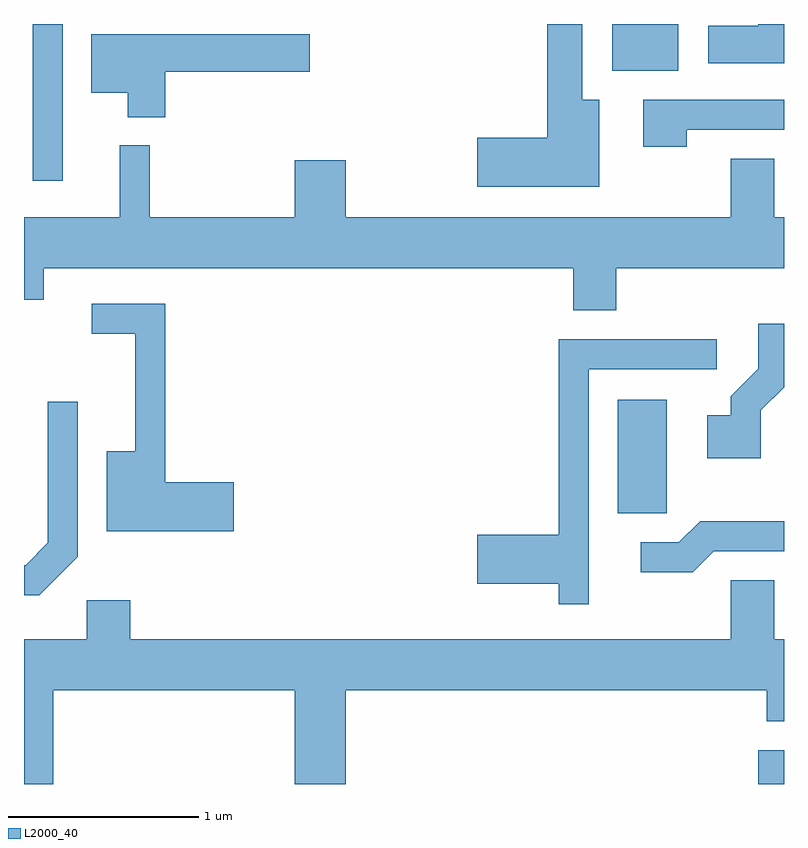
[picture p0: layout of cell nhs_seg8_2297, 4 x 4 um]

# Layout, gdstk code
import gdstk
lib = gdstk.Library(unit=1e-6, precision=1e-09)
def R(c, l, rs):  # rectangles x0, y0, x1, y1
    for r in rs: c.add(gdstk.rectangle(r[:2], r[2:], *l))
def P(c, l, *ps):  # polygons
    for p in ps: c.add(gdstk.Polygon(p, *l))
L2000_40 = (2000, 40)

nhs_seg8_2297 = lib.new_cell('nhs_seg8_2297')
R(nhs_seg8_2297, L2000_40, [(257.476,1860.342,257.611,1860.519), (256.736,1861.766,256.994,1862.364), (253.656,1863.518,253.814,1864.342), (256.706,1864.096,257.054,1864.342)])
P(nhs_seg8_2297, L2000_40, [(257.611,1864.342),(257.476,1864.342),(257.476,1864.334),(257.211,1864.334),(257.211,1864.136),(257.611,1864.136)],
  [(256.639,1863.944),(256.549,1863.944),(256.549,1864.342),(256.366,1864.342),(256.366,1863.744),(255.996,1863.744),(255.996,1863.486),(256.639,1863.486)],
  [(254.354,1864.091),(255.114,1864.091),(255.114,1864.289),(253.966,1864.289),(253.966,1863.981),(254.156,1863.981),(254.156,1863.851),(254.354,1863.851)],
  [(257.099,1863.786),(257.611,1863.786),(257.611,1863.944),(256.871,1863.944),(256.871,1863.696),(257.099,1863.696)],
  [(256.729,1863.056),(257.611,1863.056),(257.611,1863.324),(257.559,1863.324),(257.559,1863.634),(257.331,1863.634),(257.331,1863.324),(255.304,1863.324),(255.304,1863.624),(255.036,1863.624),(255.036,1863.324),(254.274,1863.324),(254.274,1863.703),(254.116,1863.703),(254.116,1863.324),(253.611,1863.324),(253.611,1862.891),(253.714,1862.891),(253.714,1863.056),(256.501,1863.056),(256.501,1862.836),(256.729,1862.836)],
  [(254.714,1861.929),(254.354,1861.929),(254.354,1862.869),(253.968,1862.869),(253.968,1862.711),(254.196,1862.711),(254.196,1862.094),(254.046,1862.094),(254.046,1861.671),(254.714,1861.671)],
  [(257.489,1862.309),(257.611,1862.431),(257.611,1862.764),(257.476,1862.764),(257.476,1862.527),(257.331,1862.382),(257.331,1862.284),(257.206,1862.284),(257.206,1862.056),(257.489,1862.056)],
  [(256.584,1862.526),(257.258,1862.526),(257.258,1862.684),(256.426,1862.684),(256.426,1861.654),(255.996,1861.654),(255.996,1861.396),(256.426,1861.396),(256.426,1861.288),(256.584,1861.288)],
  [(253.894,1861.539),(253.894,1862.353),(253.736,1862.353),(253.736,1861.612),(253.619,1861.494),(253.611,1861.494),(253.611,1861.336),(253.692,1861.336)],
  [(257.242,1861.566),(257.611,1861.566),(257.611,1861.724),(257.169,1861.724),(257.058,1861.614),(256.858,1861.614),(256.858,1861.456),(257.132,1861.456)],
  [(253.764,1860.836),(255.036,1860.836),(255.036,1860.342),(255.304,1860.342),(255.304,1860.836),(257.521,1860.836),(257.521,1860.671),(257.611,1860.671),(257.611,1861.104),(257.559,1861.104),(257.559,1861.414),(257.331,1861.414),(257.331,1861.104),(254.169,1861.104),(254.169,1861.309),(253.941,1861.309),(253.941,1861.104),(253.611,1861.104),(253.611,1860.342),(253.764,1860.342)])

lib.write_gds('nhs_seg8_2297.gds')
